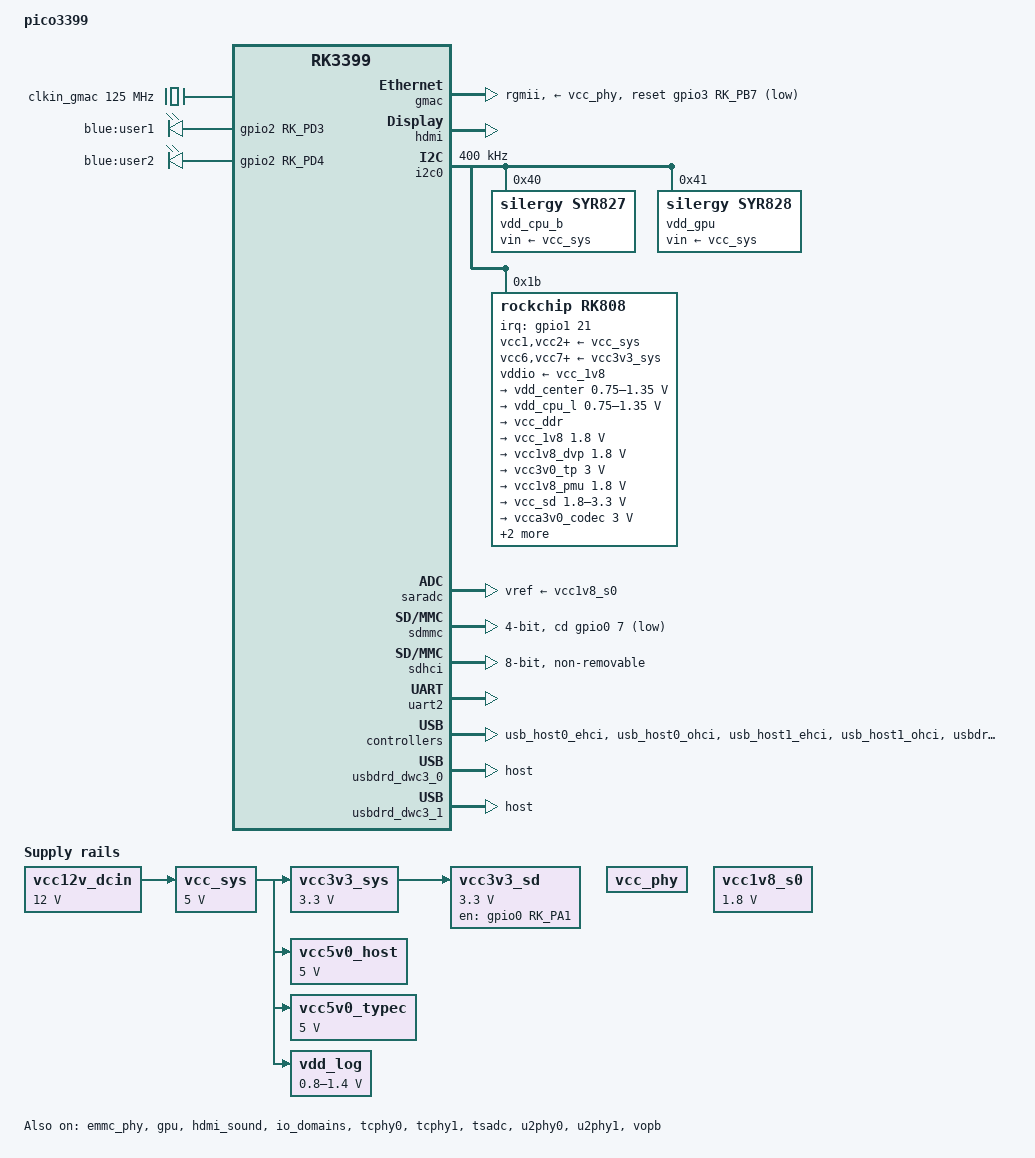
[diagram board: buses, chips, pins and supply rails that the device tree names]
// SPDX-License-Identifier: (GPL-2.0+ OR MIT)
/dts-v1/;
#include <dt-bindings/pwm/pwm.h>
#include <dt-bindings/input/input.h>
#include "rk3399.dtsi"
#include "rk3399-opp.dtsi"

/ {
	model = "pico3399";
	compatible = "pico3399", "rockchip,rk3399";
	
	chosen {
		stdout-path = "serial2:1500000n8";
	};

	clkin_gmac: external-gmac-clock {
		compatible = "fixed-clock";
		clock-frequency = <125000000>;
		clock-output-names = "clkin_gmac";
		#clock-cells = <0>;
	};

	leds {
		compatible = "gpio-leds";
		pinctrl-names = "default";
		pinctrl-0 = <&user_led1>, <&user_led2>;

		user_led1 {
			label = "blue:user1";
			gpios = <&gpio2 RK_PD3 0>;
			linux,default-trigger = "heartbeat";
		};

		user_led2 {
			label = "blue:user2";
			gpios = <&gpio2 RK_PD4 0>;
			linux,default-trigger = "mmc1";
		};
	};

	vcc12v_dcin: dc-12v {
		compatible = "regulator-fixed";
		regulator-name = "vcc12v_dcin";
		regulator-always-on;
		regulator-boot-on;
		regulator-min-microvolt = <12000000>;
		regulator-max-microvolt = <12000000>;
	};

	vcc_sys: vcc-sys {
		compatible = "regulator-fixed";
		regulator-name = "vcc_sys";
		regulator-min-microvolt = <5000000>;
		regulator-max-microvolt = <5000000>;
		regulator-always-on;
		vin-supply = <&vcc12v_dcin>;
	};

	vcc_phy: vcc-phy-regulator {
		compatible = "regulator-fixed";
		regulator-name = "vcc_phy";
		regulator-always-on;
		regulator-boot-on;
	};

	vcc1v8_s0: vcc1v8-s0 {
		compatible = "regulator-fixed";
		regulator-name = "vcc1v8_s0";
		regulator-min-microvolt = <1800000>;
		regulator-max-microvolt = <1800000>;
		regulator-always-on;
	};

	vcc3v3_sys: vcc3v3-sys {
		compatible = "regulator-fixed";
		regulator-name = "vcc3v3_sys";
		regulator-min-microvolt = <3300000>;
		regulator-max-microvolt = <3300000>;
		regulator-always-on;
		vin-supply = <&vcc_sys>;
	};

	vcc5v0_host: vcc5v0-host-regulator {
		compatible = "regulator-fixed";
		//enable-active-high;
		//gpio = <&gpio4 RK_PD2 GPIO_ACTIVE_HIGH>;
		//pinctrl-names = "default";
		//pinctrl-0 = <&host_vbus_drv>;
		regulator-min-microvolt = <5000000>;
		regulator-max-microvolt = <5000000>;
		regulator-name = "vcc5v0_host";
		regulator-always-on;
		vin-supply = <&vcc_sys>;
	};

	vcc5v0_typec: vcc5v0-typec-regulator {
		compatible = "regulator-fixed";
		//enable-active-high;
		//gpio = <&gpio1 RK_PA3 GPIO_ACTIVE_HIGH>;
		//pinctrl-names = "default";
		//pinctrl-0 = <&vcc5v0_typec_en>;
		regulator-min-microvolt = <5000000>;
		regulator-max-microvolt = <5000000>;
		regulator-name = "vcc5v0_typec";
		regulator-always-on;
		vin-supply = <&vcc_sys>;
	};

	vdd_log: vdd-log {
		compatible = "pwm-regulator";
		pwms = <&pwm2 0 25000 0>;
		pwm-supply = <&vcc_sys>;
		regulator-name = "vdd_log";
		regulator-min-microvolt = <800000>;
		regulator-max-microvolt = <1400000>;
		regulator-always-on;
		regulator-boot-on;
	};
	vcc3v3_sd: vcc3v3-sd {
		compatible = "regulator-fixed";
		enable-active-high;
		gpio = <&gpio0 RK_PA1 GPIO_ACTIVE_HIGH>;
		pinctrl-names = "default";
		pinctrl-0 = <&sdmmc0_pwr_h>;
		regulator-always-on;
		regulator-min-microvolt = <3300000>;
		regulator-max-microvolt = <3300000>;
		regulator-name = "vcc3v3_sd";
		vin-supply = <&vcc3v3_sys>;
	};
};

&cpu_l0 {
	cpu-supply = <&vdd_cpu_l>;
};

&cpu_l1 {
	cpu-supply = <&vdd_cpu_l>;
};

&cpu_l2 {
	cpu-supply = <&vdd_cpu_l>;
};

&cpu_l3 {
	cpu-supply = <&vdd_cpu_l>;
};

&cpu_b0 {
	cpu-supply = <&vdd_cpu_b>;
};

&cpu_b1 {
	cpu-supply = <&vdd_cpu_b>;
};

&emmc_phy {
	status = "okay";
};

&gmac {
	assigned-clocks = <&cru SCLK_RMII_SRC>;
	assigned-clock-parents = <&clkin_gmac>;
	clock_in_out = "input";
	phy-supply = <&vcc_phy>;
	phy-mode = "rgmii";
	pinctrl-names = "default";
	pinctrl-0 = <&rgmii_pins>;
	snps,reset-gpio = <&gpio3 RK_PB7 GPIO_ACTIVE_LOW>;
	snps,reset-active-low;
	snps,reset-delays-us = <0 10000 50000>;
	tx_delay = <0x28>;
	rx_delay = <0x11>;
	status = "okay";
};

&gpu {
	status = "okay";
	mali-supply = <&vdd_gpu>;
};

&hdmi {
	ddc-i2c-bus = <&i2c3>;
	pinctrl-names = "default";
	pinctrl-0 = <&hdmi_cec>;
	status = "okay";
};

&hdmi_sound {
	status = "okay";
};

&i2c0 {
	status = "okay";
	i2c-scl-rising-time-ns = <168>;
	i2c-scl-falling-time-ns = <4>;
	clock-frequency = <400000>;

	vdd_cpu_b: syr827@40 {
		compatible = "silergy,syr827";
		reg = <0x40>;
		regulator-compatible = "fan53555-reg";
		pinctrl-0 = <&vsel1_gpio>;
		regulator-name = "vdd_cpu_b";
		regulator-min-microvolt = <712500>;
		regulator-max-microvolt = <1500000>;
		regulator-ramp-delay = <1000>;
		fcs,suspend-voltage-selector = <1>;
		regulator-always-on;
		regulator-boot-on;
		vin-supply = <&vcc_sys>;
		regulator-state-mem {
			regulator-off-in-suspend;
		};
	};

	vdd_gpu: syr828@41 {
		compatible = "silergy,syr828";
		reg = <0x41>;
		regulator-compatible = "fan53555-reg";
		pinctrl-0 = <&vsel2_gpio>;
		regulator-name = "vdd_gpu";
		regulator-min-microvolt = <712500>;
		regulator-max-microvolt = <1500000>;
		regulator-ramp-delay = <1000>;
		fcs,suspend-voltage-selector = <1>;
		regulator-always-on;
		regulator-boot-on;
		vin-supply = <&vcc_sys>;
		regulator-state-mem {
			regulator-off-in-suspend;
		};
	};
//pmic--TODO
	rk808: pmic@1b {
		compatible = "rockchip,rk808";
		reg = <0x1b>;
		interrupt-parent = <&gpio1>;
		interrupts = <21 IRQ_TYPE_LEVEL_LOW>;
		pinctrl-names = "default";
		pinctrl-0 = <&pmic_int_l>;
		rockchip,system-power-controller;
		wakeup-source;
		#clock-cells = <1>;
		clock-output-names = "xin32k", "rtc_clko_wifi";

		vcc1-supply = <&vcc_sys>;
		vcc2-supply = <&vcc_sys>;
		vcc3-supply = <&vcc_sys>;
		vcc4-supply = <&vcc_sys>;
		vcc6-supply = <&vcc3v3_sys>;
		vcc7-supply = <&vcc3v3_sys>;
		vcc8-supply = <&vcc3v3_sys>;
		vcc9-supply = <&vcc3v3_sys>;
		vcc10-supply = <&vcc3v3_sys>;
		vcc11-supply = <&vcc3v3_sys>;
		vcc12-supply = <&vcc3v3_sys>;
		vddio-supply = <&vcc_1v8>;

		regulators {
			vdd_center: DCDC_REG1 {
				regulator-name = "vdd_center";
				regulator-min-microvolt = <750000>;
				regulator-max-microvolt = <1350000>;
				regulator-ramp-delay = <6001>;
				regulator-always-on;
				regulator-boot-on;
				regulator-state-mem {
					regulator-off-in-suspend;
				};
			};

			vdd_cpu_l: DCDC_REG2 {
				regulator-name = "vdd_cpu_l";
				regulator-min-microvolt = <750000>;
				regulator-max-microvolt = <1350000>;
				regulator-ramp-delay = <6001>;
				regulator-always-on;
				regulator-boot-on;
				regulator-state-mem {
					regulator-off-in-suspend;
				};
			};

			vcc_ddr: DCDC_REG3 {
				regulator-name = "vcc_ddr";
				regulator-always-on;
				regulator-boot-on;
				regulator-state-mem {
					regulator-on-in-suspend;
				};
			};

			vcc_1v8: DCDC_REG4 {
				regulator-name = "vcc_1v8";
				regulator-min-microvolt = <1800000>;
				regulator-max-microvolt = <1800000>;
				regulator-always-on;
				regulator-boot-on;
				regulator-state-mem {
					regulator-on-in-suspend;
					regulator-suspend-microvolt = <1800000>;
				};
			};

			vcc1v8_dvp: LDO_REG1 {
				regulator-name = "vcc1v8_dvp";
				regulator-min-microvolt = <1800000>;
				regulator-max-microvolt = <1800000>;
				regulator-always-on;
				regulator-boot-on;
				regulator-state-mem {
					regulator-on-in-suspend;
					regulator-suspend-microvolt = <1800000>;
				};
			};

			vcc3v0_tp: LDO_REG2 {
				regulator-name = "vcc3v0_tp";
				regulator-min-microvolt = <3000000>;
				regulator-max-microvolt = <3000000>;
				regulator-always-on;
				regulator-boot-on;
				regulator-state-mem {
					regulator-on-in-suspend;
					regulator-suspend-microvolt = <3000000>;
				};
			};

			vcc1v8_pmu: LDO_REG3 {
				regulator-name = "vcc1v8_pmu";
				regulator-min-microvolt = <1800000>;
				regulator-max-microvolt = <1800000>;
				regulator-always-on;
				regulator-boot-on;
				regulator-state-mem {
					regulator-on-in-suspend;
					regulator-suspend-microvolt = <1800000>;
				};
			};

			vcc_sd: LDO_REG4 {
				regulator-name = "vcc_sd";
				regulator-min-microvolt = <1800000>;
				regulator-max-microvolt = <3300000>;
				regulator-always-on;
				regulator-boot-on;
				regulator-state-mem {
					regulator-on-in-suspend;
					regulator-suspend-microvolt = <3300000>;
				};
			};

			vcca3v0_codec: LDO_REG5 {
				regulator-name = "vcca3v0_codec";
				regulator-min-microvolt = <3000000>;
				regulator-max-microvolt = <3000000>;
				regulator-always-on;
				regulator-boot-on;
				regulator-state-mem {
					regulator-on-in-suspend;
					regulator-suspend-microvolt = <3000000>;
				};
			};

			vcc_1v5: LDO_REG6 {
				regulator-name = "vcc_1v5";
				regulator-min-microvolt = <1500000>;
				regulator-max-microvolt = <1500000>;
				regulator-always-on;
				regulator-boot-on;
				regulator-state-mem {
					regulator-on-in-suspend;
					regulator-suspend-microvolt = <1500000>;
				};
			};

			vcca1v8_codec: LDO_REG7 {
				regulator-name = "vcca1v8_codec";
				regulator-min-microvolt = <1800000>;
				regulator-max-microvolt = <1800000>;
				regulator-always-on;
				regulator-boot-on;
				regulator-state-mem {
					regulator-on-in-suspend;
					regulator-suspend-microvolt = <1800000>;
				};
			};

			vcc_3v0: LDO_REG8 {
				regulator-name = "vcc_3v0";
				regulator-min-microvolt = <3000000>;
				regulator-max-microvolt = <3000000>;
				regulator-always-on;
				regulator-boot-on;
				regulator-state-mem {
					regulator-on-in-suspend;
					regulator-suspend-microvolt = <3000000>;
				};
			};

			vcc3v3_s3: SWITCH_REG1 {
				regulator-name = "vcc3v3_s3";
				regulator-always-on;
				regulator-boot-on;
				regulator-state-mem {
					regulator-on-in-suspend;
				};
			};

			vcc3v3_s0: SWITCH_REG2 {
				regulator-name = "vcc3v3_s0";
				regulator-always-on;
				regulator-boot-on;
				regulator-state-mem {
					regulator-on-in-suspend;
				};
			};
		};
	};
};

&i2c1 {
	i2c-scl-rising-time-ns = <300>;
	i2c-scl-falling-time-ns = <15>;
	status = "disabled";
};

&i2c3 {
	i2c-scl-rising-time-ns = <450>;
	i2c-scl-falling-time-ns = <15>;
	status = "disabled";
};

&i2c4 {
	i2c-scl-rising-time-ns = <600>;
	i2c-scl-falling-time-ns = <40>;
	status = "disabled";
};

&i2s0 {
	rockchip,playback-channels = <8>;
	rockchip,capture-channels = <8>;
	status = "disabled";
};

&i2s1 {
	rockchip,playback-channels = <2>;
	rockchip,capture-channels = <2>;
	status = "disabled";
};

&i2s2 {
	status = "disabled";
};

&io_domains {
	status = "okay";
	audio-supply = <&vcc1v8_s0>;
	bt656-supply = <&vcc1v8_s0>;
	gpio1830-supply = <&vcc_3v0>;
	sdmmc-supply = <&vcc_sd>;
};

&pmu_io_domains {
	status = "okay";
	pmu1830-supply = <&vcc_1v8>;
};

&pinctrl {

		sdmmc_pwren: sdmmc-pwren {
			rockchip,pins = <0 RK_PA1 RK_FUNC_GPIO &pcfg_pull_none>;
		};

	gmac {
		rgmii_sleep_pins: rgmii-sleep-pins {
			rockchip,pins =
				<3 RK_PB7 RK_FUNC_GPIO &pcfg_output_low>;
		};
	};

	leds {
		user_led1: user_led1 {
			rockchip,pins =
				<2 RK_PD3 RK_FUNC_GPIO &pcfg_pull_none>;
		};

		user_led2: user_led2 {
			rockchip,pins =
				<2 RK_PD4 RK_FUNC_GPIO &pcfg_pull_none>;
		};

	};

	pmic {
		pmic_int_l: pmic-int-l {
			rockchip,pins =
				<1 RK_PC5 RK_FUNC_GPIO &pcfg_pull_up>;
		};

		vsel1_gpio: vsel1-gpio {
			rockchip,pins =
				<1 RK_PC1 RK_FUNC_GPIO &pcfg_pull_down>;
		};

		vsel2_gpio: vsel2-gpio {
			rockchip,pins =
				<1 RK_PB6 RK_FUNC_GPIO &pcfg_pull_down>;
		};
	};
	sdmmc {
		sdmmc0_det_l: sdmmc0-det-l {
			rockchip,pins = <0 RK_PA7 RK_FUNC_GPIO &pcfg_pull_up>;
		};

		sdmmc0_pwr_h: sdmmc0-pwr-h {
			rockchip,pins = <0 RK_PA1 RK_FUNC_GPIO &pcfg_pull_none>;
		};
	};
};

&pwm0 {
	status = "disabled";
};

&pwm2 {
	status = "disabled";
};

&saradc {
	vref-supply = <&vcc1v8_s0>;
	status = "okay";
};

&sdmmc {
	bus-width = <4>;
	cap-mmc-highspeed;
	cap-sd-highspeed;
	cd-gpios = <&gpio0 7 GPIO_ACTIVE_LOW>;
	disable-wp;
	max-frequency = <150000000>;
	pinctrl-names = "default";
	pinctrl-0 = <&sdmmc_clk &sdmmc_cmd &sdmmc_bus4>;
	status = "okay";
};
/*
&sdmmc {
	clock-frequency = <150000000>;
	clock-freq-min-max = <200000 150000000>;
	supports-sd;
	bus-width = <4>;
	cap-mmc-highspeed;
	cap-sd-highspeed;
	disable-wp;
	vqmmc-supply = <&vcc_sd>;
	vmmc-supply = <&vcc3v3_sd>;
	pinctrl-names = "default";
	pinctrl-0 = <&sdmmc_clk &sdmmc_cmd &sdmmc0_det_l &sdmmc_bus4>;
	card-detect-delay = <800>;
	sd-uhs-sdr104;
	status = "okay";
	
};
*/
&sdhci {
	bus-width = <8>;
	mmc-hs400-1_8v;
	mmc-hs400-enhanced-strobe;
	supports-emmc;
	non-removable;
	keep-power-in-suspend;
	status = "okay";
};


&tcphy0 {
	status = "okay";
};

&tcphy1 {
	status = "okay";
};

&tsadc {
	/* tshut mode 0:CRU 1:GPIO */
	rockchip,hw-tshut-mode = <1>;
	/* tshut polarity 0:LOW 1:HIGH */
	rockchip,hw-tshut-polarity = <1>;
	rockchip,hw-tshut-temp = <110000>;
	status = "okay";
};

&u2phy0 {
	status = "okay";

	u2phy0_host: host-port {
		//phy-supply = <&vcc5v0_typec>;
		status = "okay";
	};

	u2phy0_otg: otg-port {
		status = "okay";
	};
};

&u2phy1 {
	status = "okay";

	u2phy1_host: host-port {
		//phy-supply = <&vcc5v0_host>;
		status = "okay";
	};

	u2phy1_otg: otg-port {
		status = "okay";
	};
};

&uart0 {
	status = "disabled";
};

&uart2 {
	status = "okay";
};

&usb_host0_ehci {
	status = "okay";
};

&usb_host0_ohci {
	status = "okay";
};

&usb_host1_ehci {
	status = "okay";
};

&usb_host1_ohci {
	status = "okay";
};

&usbdrd3_0 {
	status = "okay";
};

&usbdrd_dwc3_0 {
	status = "okay";
	dr_mode = "host";
};

&usbdrd3_1 {
	status = "okay";
};

&usbdrd_dwc3_1 {
	status = "okay";
	dr_mode = "host";
};

&vopb {
	status = "okay";
};

&vopb_mmu {
	status = "okay";
};
